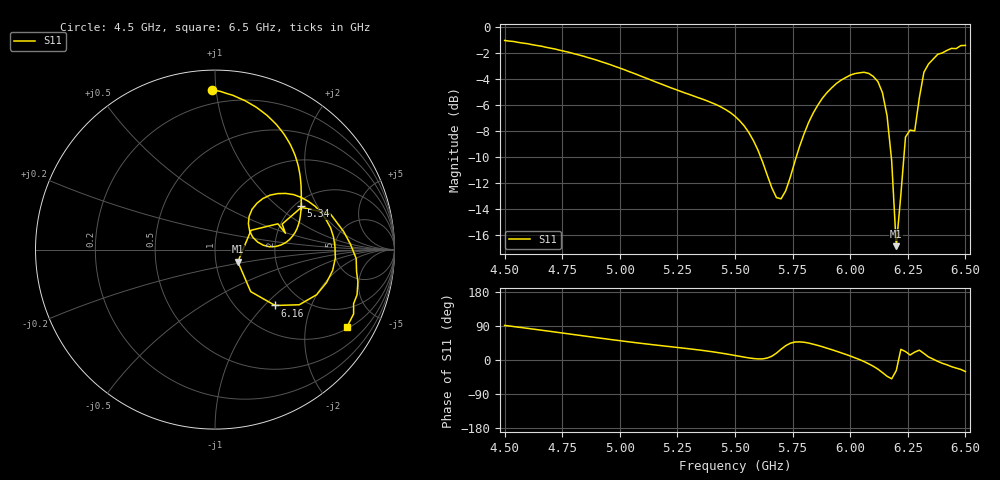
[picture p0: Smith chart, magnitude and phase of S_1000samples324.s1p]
! TOUCHSTONE file generated by CST MICROWAVE STUDIO
! Date and time: Thu Oct 27 18:54:58 2022
! Project name: L.cst
! Parameters = {Di=1.27; Epsilon_r=1.56; InnerDiameter=1.27; Length=2; Lf=10; Lg=60; OuterConductorThickness=0.2921; OuterDiameter=3.6; Wf=3; Wp=41.2; de=1.5; df=6.8; g=0.8; gx=1.5701; gy=4.95772; h=2.34; hf=1.524; px=12.933; py=14.4524; w=9.7; wx=11.3629; wy=9.49471}
! Header version: 2018
! Port assignment regex: !\s*Touchstone port\s*([0-9]+)\s*=\s*(CST MWS port|CST DS port)\s*([0-9]+|Zmin|Zmax)\s*\(\"(.*)\"\)(\s*mode\s*([0-9]+))?.*
! Touchstone port assignment:
! Touchstone port 1 = CST MWS port 1 ("")
# GHz S DB R 50
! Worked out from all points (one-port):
!   101 points, 4.5 GHz to 6.5 GHz, reference 50 ohm
!   lowest |S11| = -16.8 dB at 6.2 GHz (marker M1), VSWR 1.34, Z = 63.9 - j8.81 ohm
!   |S11| at or under -10 dB: 5.612 GHz to 5.765 GHz (153.3 MHz wide, 2.69 % of centre); 6.179 GHz to 6.233 GHz (54.35 MHz wide, 0.876 % of centre)
!   S11 on the Smith chart (normalised r, x): 4.5 GHz: 0.11, +0.97; 5.34 GHz: 2.16, +1.47; 6.16 GHz: 1.47, -1.15; 6.5 GHz: 1.07, -3.37
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4.5  -1.00 91.2
4.76  -1.84 70.5
5  -3.13 51.0
5.26  -4.89 32.4
5.34  -5.40 26.7
5.5  -6.83 11.9
5.6  -9.45 2.9
5.68  -13.09 18.1
5.72  -12.57 37.8
5.76  -10.30 47.4
5.82  -7.29 44.7
5.88  -5.43 34.9
6  -3.67 10.6
6.06  -3.45 -4.0
6.1  -3.77 -16.4
6.12  -4.16 -23.9
6.16  -6.80 -42.9
6.18  -10.25 -49.6
6.2  -16.83 -27.9
6.22  -12.85 28.2
6.24  -8.43 22.3
6.26  -7.90 13.1
6.28  -7.96 20.8
6.3  -5.42 26.1
6.32  -3.44 17.2
6.38  -2.07 -3.6
6.44  -1.61 -17.6
6.5  -1.39 -30.4
